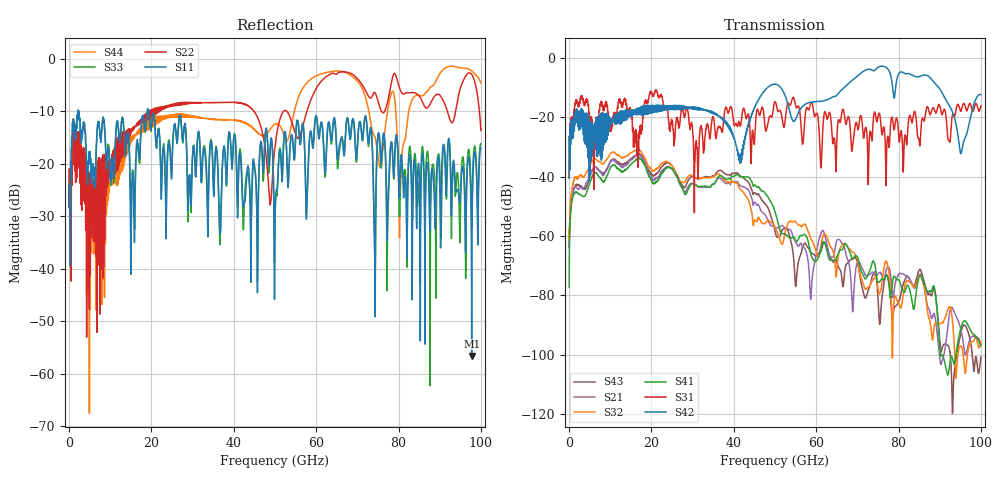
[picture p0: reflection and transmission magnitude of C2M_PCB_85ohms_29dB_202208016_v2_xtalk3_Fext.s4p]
! Info: Touchstone file created by Circ.  Input file=Intel_C2M_200G_13p0in_202208016_staggered.circ
# Hz S RI R 50
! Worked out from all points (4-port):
!   10000 points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, 10 MHz to 100 GHz, reference 50 ohm
!   strongest paths, dB at 10 MHz, 25.01 GHz, 50.01 GHz, 75.01 GHz, 100 GHz:
!     S42: -40.3, -16.4, -8.9, -3.3, -12.5
!     S31: -40.5, -22.0, -14.8, -19.8, -16.2
!     S41: -77.3, -37.4, -51.9, -75.5, -97.0
!     S32: -57.8, -36.4, -57.1, -77.5, -95.6
!     S21: -61.0, -37.5, -57.0, -72.8, -96.6
!     S43: -63.8, -36.3, -58.3, -80.6, -100.8
!   lowest |S11| = -56.6 dB at 97.76 GHz (marker M1), VSWR 1.00, Z = 50.1 - j0.0533 ohm
!   |S11| at or under -10 dB: start of sweep to 2.15 GHz; 2.209 GHz to 19 GHz (16.79 GHz wide, 158 % of centre); 19.35 GHz to end of sweep
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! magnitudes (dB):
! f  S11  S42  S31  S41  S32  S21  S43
! 10 MHz  -28.2  -40.3  -40.5  -77.3  -57.8  -61.0  -63.8
! 16.92 GHz  -18.4  -17.8  -28.3  -33.8  -31.0  -32.7  -32.4
! 41.48 GHz  -17.9  -35.4  -22.9  -40.0  -44.1  -43.1  -39.7
! 58.74 GHz  -13.9  -15.0  -15.2  -66.3  -61.0  -80.3  -65.6
! 80.34 GHz  -22.2  -4.9  -27.0  -75.5  -83.7  -72.5  -81.0
! 97.76 GHz  -56.6  -18.3  -17.0  -92.4  -95.5  -93.9  -98.1
! 100 GHz  -16.9  -12.5  -16.2  -97.0  -95.6  -96.6  -100.8
